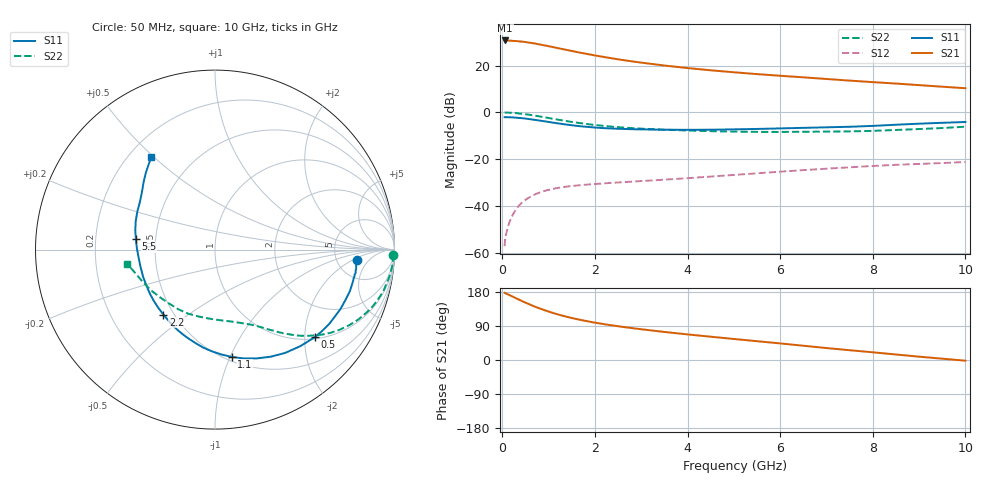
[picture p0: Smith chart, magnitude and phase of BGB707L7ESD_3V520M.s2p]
!  Infineon Technologies AG
!  BGB707L7ESD
!  Vce = 3.5V, Ic = 20.0mA
!  DATUM: 30.06.2009 10:57:26
# GHz  S  MA  R  50
!f  S11  S21  S12  S22
!GHz  Mag  Ang  Mag  Ang  Mag  Ang  Mag  Ang
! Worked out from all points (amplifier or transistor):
!   52 points, 50 MHz to 10 GHz, reference 50 ohm
!   highest |S21| = 30.7 dB at 60 MHz (marker M1)
!   |S21| within 3 dB of that: start of sweep to 1.135 GHz
!   unconditionally stable (mu >= 1): 4.369 GHz to 8.375 GHz
!   at 130 MHz: K = 0.06, MSG = 39.5 dB, |S12| = -48.3 dB
!   at 1.4 GHz: K = 0.42, MSG = 29.1 dB, |S12| = -31.6 dB
!   at 10 GHz: K = 0.91, MSG = 15.8 dB, |S12| = -21.2 dB
!   S11 on the Smith chart (normalised r, x): 50 MHz: 7.92, -2.42; 500 MHz: 1.04, -2.25; 1.1 GHz: 0.54, -1.01; 2.2 GHz: 0.44, -0.40; 5.5 GHz: 0.39, +0.06; 10 GHz: 0.29, +0.49
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0.05  0.7932 -4.1  33.82 177.2  0.0014 93.6  0.9904 -1.6
0.06  0.7912 -5.3  34.4 176.6  0.001909 87.9  0.992 -2.2
0.08  0.7915 -6.3  33.87 175.3  0.002484 86.0  0.9922 -3.3
0.09  0.7936 -7.8  34.16 175.3  0.002738 85.9  0.9925 -3.8
0.13  0.7913 -10.9  34.17 172.7  0.003852 83.0  0.99 -5.8
0.3  0.7739 -25.2  33.4 162.8  0.008609 76.5  0.9671 -13.7
0.5  0.7405 -41.1  31.81 151.5  0.01363 69.4  0.9174 -22.1
0.7  0.6957 -55.9  29.65 141.0  0.01775 62.9  0.857 -29.5
0.8  0.6726 -62.6  28.37 136.4  0.01946 60.2  0.8253 -32.8
0.9  0.6492 -69.1  27.13 131.9  0.02097 57.5  0.7931 -35.8
1.1  0.6049 -81.2  24.78 123.9  0.02347 53.5  0.7312 -40.9
1.3  0.5657 -92.1  22.55 117.0  0.02537 50.4  0.6766 -45.2
1.5  0.5329 -101.5  20.52 110.9  0.0269 48.1  0.6284 -48.7
1.8  0.496 -114.2  17.95 103.1  0.02873 46.0  0.571 -53.1
2.2  0.4624 -128.5  15.25 94.6  0.03068 44.8  0.5149 -58.0
2.8  0.4392 -144.8  12.34 84.1  0.03339 45.1  0.4633 -64.5
3.5  0.4285 -159.1  10.04 74.0  0.03678 46.7  0.4285 -71.9
4.5  0.4281 -174.5  7.938 61.4  0.04282 49.2  0.399 -82.9
5.5  0.4447 172.4  6.587 49.6  0.05022 50.5  0.3849 -96.9
7  0.4816 154.0  5.183 31.6  0.06307 49.1  0.3902 -121.6
8.5  0.5468 136.7  4.139 14.5  0.07624 44.8  0.4228 -147.6
10  0.6255 124.5  3.292 -1.8  0.0875 40.1  0.4962 -171.0
